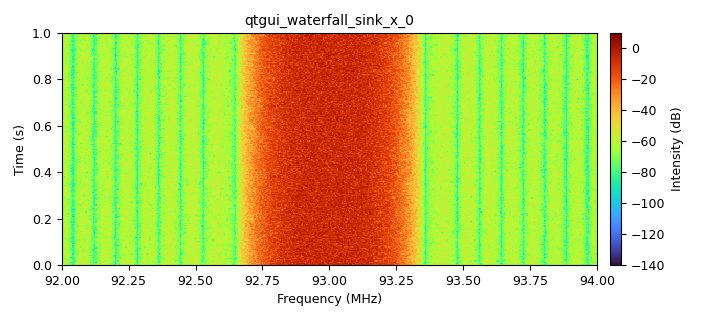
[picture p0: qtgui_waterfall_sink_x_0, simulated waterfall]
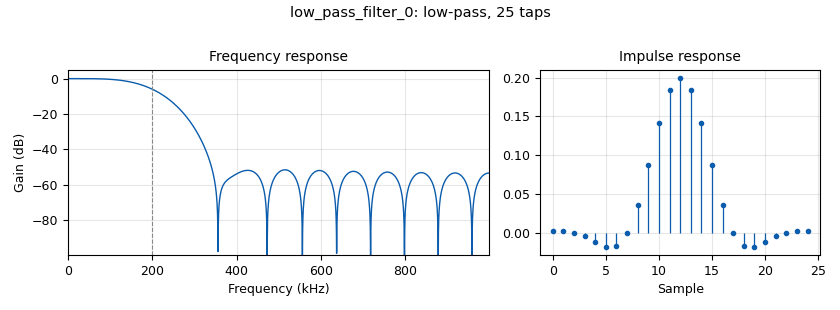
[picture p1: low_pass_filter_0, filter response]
options:
  parameters:
    generate_options: qt_gui
    id: Noisejammer
    output_language: python
    title: Noisejammer
  states: {}

blocks:
- name: center_freq_slider
  id: variable_qtgui_range
  parameters:
    orient: Qt.Horizontal
    start: 88e6
    step: 10e3
    stop: 108e6
    value: 93e6
  states: {}
- name: cut_freq_slider
  id: variable_qtgui_range
  parameters:
    orient: Qt.Horizontal
    start: 100e3
    step: 50e3
    stop: 1e6
    value: 200e3
  states: {}
- name: samp_rate
  id: variable
  parameters:
    value: 2e6
  states: {}
- name: tr_width_slider
  id: variable_qtgui_range
  parameters:
    orient: Qt.Horizontal
    start: 50e3
    step: 50e3
    stop: 1e6
    value: 200e3
  states: {}
- name: analog_noise_source_x_0
  id: analog_noise_source_x
  parameters:
    amp: '50'
    noise_type: analog.GR_UNIFORM
    seed: '0'
    type: complex
  states: {}
- name: low_pass_filter_0
  id: low_pass_filter
  parameters:
    cutoff_freq: cut_freq_slider
    decim: '1'
    gain: '1'
    samp_rate: samp_rate
    type: fir_filter_ccf
    width: tr_width_slider
    win: firdes.WIN_HAMMING
  states: {}
- name: osmosdr_sink_0
  id: osmosdr_sink
  parameters:
    bb_gain0: '0'
    freq0: center_freq_slider
    gain0: '0'
    if_gain0: '47'
    sample_rate: samp_rate
    sync: sync
    type: fc32
  states: {}
- name: qtgui_waterfall_sink_x_0
  id: qtgui_waterfall_sink_x
  parameters:
    bw: samp_rate
    fc: center_freq_slider
    fftsize: '1024'
    type: complex
    wintype: firdes.WIN_BLACKMAN_hARRIS
  states: {}

connections:
- [analog_noise_source_x_0, '0', low_pass_filter_0, '0']
- [low_pass_filter_0, '0', osmosdr_sink_0, '0']
- [low_pass_filter_0, '0', qtgui_waterfall_sink_x_0, '0']

metadata:
  file_format: 1
